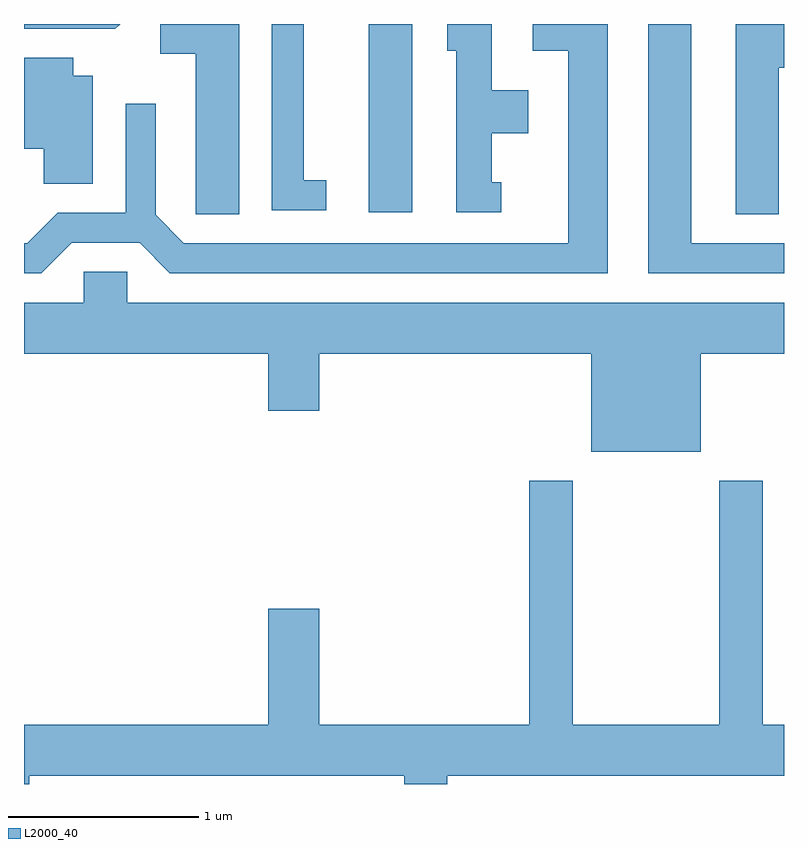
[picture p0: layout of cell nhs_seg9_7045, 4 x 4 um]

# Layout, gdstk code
import gdstk
lib = gdstk.Library(unit=1e-6, precision=1e-09)
def R(c, l, rs):  # rectangles x0, y0, x1, y1
    for r in rs: c.add(gdstk.rectangle(r[:2], r[2:], *l))
def P(c, l, *ps):  # polygons
    for p in ps: c.add(gdstk.Polygon(p, *l))
L2000_40 = (2000, 40)

nhs_seg9_7045 = lib.new_cell('nhs_seg9_7045')
R(nhs_seg9_7045, L2000_40, [(395.426,2001.441,395.654,2002.432)])
P(nhs_seg9_7045, L2000_40, [(397.584,2002.201),(397.611,2002.201),(397.611,2002.432),(397.356,2002.432),(397.356,2001.431),(397.584,2001.431)],
  [(397.611,2001.279),(397.124,2001.279),(397.124,2002.432),(396.896,2002.432),(396.896,2001.121),(397.611,2001.121)],
  [(395.203,2001.609),(395.084,2001.609),(395.084,2002.432),(394.916,2002.432),(394.916,2001.451),(395.203,2001.451)],
  [(394.118,2002.432),(393.611,2002.432),(393.611,2002.406),(394.092,2002.406)],
  [(393.862,2001.281),(394.219,2001.281),(394.379,2001.121),(396.684,2001.121),(396.684,2002.432),(396.288,2002.432),(396.288,2002.291),(396.476,2002.291),(396.476,2001.279),(394.452,2001.279),(394.304,2001.427),(394.304,2002.013),(394.146,2002.013),(394.146,2001.439),(393.789,2001.439),(393.629,2001.279),(393.611,2001.279),(393.611,2001.121),(393.702,2001.121)],
  [(394.744,2002.432),(394.328,2002.432),(394.328,2002.276),(394.516,2002.276),(394.516,2001.431),(394.744,2001.431)],
  [(396.123,2001.599),(396.074,2001.599),(396.074,2001.856),(396.264,2001.856),(396.264,2002.084),(396.074,2002.084),(396.074,2002.432),(395.838,2002.432),(395.838,2002.291),(395.886,2002.291),(395.886,2001.441),(396.123,2001.441)],
  [(393.974,2002.159),(393.869,2002.159),(393.869,2002.254),(393.611,2002.254),(393.611,2001.776),(393.716,2001.776),(393.716,2001.591),(393.974,2001.591)],
  [(397.174,2000.696),(397.611,2000.696),(397.611,2000.964),(394.154,2000.964),(394.154,2001.129),(393.926,2001.129),(393.926,2000.964),(393.611,2000.964),(393.611,2000.696),(394.896,2000.696),(394.896,2000.396),(395.164,2000.396),(395.164,2000.696),(396.596,2000.696),(396.596,2000.181),(397.174,2000.181)],
  [(393.639,1998.476),(395.611,1998.476),(395.611,1998.432),(395.839,1998.432),(395.839,1998.476),(397.611,1998.476),(397.611,1998.744),(397.499,1998.744),(397.499,2000.029),(397.271,2000.029),(397.271,1998.744),(396.499,1998.744),(396.499,2000.029),(396.271,2000.029),(396.271,1998.744),(395.164,1998.744),(395.164,1999.354),(394.896,1999.354),(394.896,1998.744),(393.611,1998.744),(393.611,1998.432),(393.639,1998.432)])

lib.write_gds('nhs_seg9_7045.gds')
